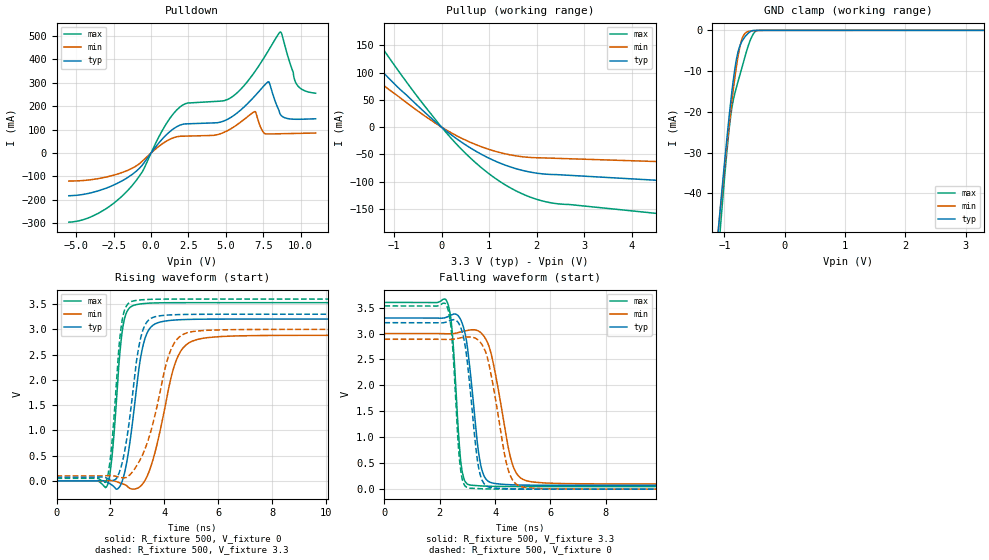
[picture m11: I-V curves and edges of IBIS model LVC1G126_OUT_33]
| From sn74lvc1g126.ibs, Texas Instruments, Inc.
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[Model]   LVC1G126_OUT_33
Model_type  3-state
Enable   Active-Low
Vref =   0
Rref =   500
Cref =   50p
Vmeas =   1.5
| variable   typ   min   max
C_comp   5.78pF   4.91pF   6.95pF
| C_pullup   10.34pF   5.85pF   13.17pF
| C_pulldown   9.42pF   6.49pF   14.05pF
| C_tri-state   5.78pF   4.91pF   6.95pF
[Temperature Range]   40   100   -40
| Ambient temperature   25   85   -40
[Voltage range]   3.3   3   3.6
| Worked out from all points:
|   slope of the pulldown table from 0 to 0.495 V, typ, clamps not added: 12.1 ohm
|   slope of the pullup table from 0 to 0.495 V, typ, clamps not added: 15.5 ohm
|   GND clamp passes 1 mA (typ) near -0.62 V on its own axis
|   rising waveform, R_fixture 500, V_fixture 0: 20-80 % time 475ps typ, 728ps min, 308ps max; typ from 0 V to 3.2 V
|   falling waveform, R_fixture 500, V_fixture 3.3: 20-80 % time 382ps typ, 589ps min, 250ps max; typ from 3.3 V to 0.074 V
|   rising waveform, R_fixture 500, V_fixture 3.3: 20-80 % time 483ps typ, 809ps min, 306ps max; typ from 0.074 V to 3.3 V
|   falling waveform, R_fixture 500, V_fixture 0: 20-80 % time 371ps typ, 559ps min, 238ps max; typ from 3.21 V to 0 V
[GND Clamp]
| LVC1G126_OUT_33
|   Voltage   I(typ)   I(min)   I(max)
-5.5V     -902.1mA   -833.8mA   -1.025A
-1.095V   -47.96mA   -47.98mA   -53.66mA
-1.065V   -43.06mA   -43.49mA   -48.11mA
-960mV    -26.67mA   -28.39mA   -29.93mA
-905mV    -18.83mA   -21.02mA   -22.13mA
-860mV    -13.08mA   -15.41mA   -17.67mA
-795mV    -6.693mA   -8.315mA   -13.66mA
-730mV    -3.328mA   -3.204mA   -10.23mA
-675mV    -1.899mA   -1.056mA   -7.313mA
-560mV    -222.8uA   -149.8uA   -2.018mA
-475mV    -9.717uA   -63.65uA   -131.3uA
3.3V      10.78pA    98.89nA    394pA
[Pulldown]
| LVC1G126_OUT_33
|   Voltage   I(typ)   I(min)   I(max)
-5.5V     -183.2mA   -120.3mA   -296.4mA
-3.555V   -162.7mA   -110.1mA   -259.3mA
-1.61V    -107mA     -75.73mA   -164mA
1.02V     77.66mA    50.32mA    125.4mA
1.925V    118.7mA    71.29mA    196.3mA
5.13V     144.4mA    96.07mA    229.3mA
6.93V     243mA      176.8mA    347.1mA
7.44V     279.6mA    95.03mA    396.1mA
7.835V    304.6mA    81.23mA    437mA
8.625V    167.3mA    82.15mA    517.2mA
9.715V    144.1mA    83.53mA    295.9mA
11V       146.2mA    85.2mA     255.6mA
[Pullup]
| LVC1G126_OUT_33
|   Voltage   I(typ)   I(min)   I(max)
-5.5V     537.8mA    430.1mA    747.1mA
-2.615V   233.2mA    183.4mA    328.2mA
-2.145V   186.6mA    146mA      263.6mA
-1.605V   134.9mA    104.7mA    191.5mA
-1.5V     125.1mA    96.96mA    177.9mA
-310mV    23.76mA    17.91mA    33.74mA
485mV     -31.39mA   -23.03mA   -46.41mA
1.275V    -67.52mA   -47.61mA   -102.3mA
1.645V    -78.04mA   -53.63mA   -120.2mA
2.09V     -85.29mA   -56.22mA   -134.5mA
7.33V     -111.2mA   -70.85mA   -183mA
11V       -129.4mA   -81.11mA   -215.7mA
[Ramp]
| LVC1G126_OUT_33
| variable   typ   min   max
dV/dt_r   2.02/5.02E-10   1.83/7.77E-10   2.20/3.25E-10
dV/dt_f   1.98/4.04E-10   1.78/6.11E-10   2.17/2.64E-10
R_load = 500
[Rising Waveform]
| LVC1G126_OUT_33
R_fixture =   500
C_fixture =   0
L_fixture =   0
V_fixture =   0
V_fixture_min = 0
V_fixture_max = 0
|   Time   V(typ)   V(min)   V(max)
0s        149.2pV    5.754nV    532.7pV
1.88ns    -26.07mV   3.768mV    -92.3mV
2.06ns    -84.49mV   5.232mV    502.9mV
2.335ns   -117.3mV   -36.87mV   2.452V
2.48ns    73.09mV    -63.6mV    3.109V
3.115ns   2.433V     -104.5mV   3.504V
3.51ns    3.053V     305.4mV    3.521V
4.495ns   3.189V     2.459V     3.528V
5.61ns    3.202V     2.837V     3.529V
50ns      3.204V     2.883V     3.529V
[Falling Waveform]
| LVC1G126_OUT_33
R_fixture =   500
C_fixture =   0
L_fixture =   0
V_fixture =   3.3
V_fixture_min = 3
V_fixture_max = 3.6
|   Time   V(typ)   V(min)   V(max)
0s        3.3V       3V         3.6V
2.26ns    3.319V     2.995V     3.617V
2.45ns    3.365V     2.997V     3.028V
2.775ns   3.244V     3.034V     462.8mV
3.11ns    2.224V     3.07V      78.51mV
3.395ns   738.5mV    3.049V     66.17mV
3.62ns    234.1mV    2.93V      59.26mV
4.63ns    83.97mV    475.7mV    51.34mV
5.405ns   76.51mV    135.9mV    50.63mV
50ns      73.65mV    99.78mV    50.36mV
[Rising Waveform]
| LVC1G126_OUT_33
R_fixture =   500
C_fixture =   0
L_fixture =   0
V_fixture =   3.3
V_fixture_min = 3
V_fixture_max = 3.6
|   Time   V(typ)   V(min)   V(max)
0s        73.62mV    99.74mV    50.35mV
1.835ns   60.94mV    102.1mV    -9.799mV
2.03ns    19.36mV    106.1mV    623mV
2.305ns   139.1mV    73.36mV    2.587V
2.44ns    372.6mV    61.92mV    3.199V
2.975ns   2.408V     303mV      3.575V
3.38ns    3.165V     780mV      3.592V
4.265ns   3.288V     2.626V     3.599V
5.195ns   3.298V     2.967V     3.6V
50ns      3.3V       3V         3.6V
[Falling Waveform]
| LVC1G126_OUT_33
R_fixture =   500
C_fixture =   0
L_fixture =   0
V_fixture =   0
V_fixture_min = 0
V_fixture_max = 0
|   Time   V(typ)   V(min)   V(max)
0s        3.209V     2.89V      3.532V
2.245ns   3.224V     2.886V     3.542V
2.43ns    3.261V     2.887V     2.981V
2.755ns   3.118V     2.918V     373.7mV
3.09ns    1.972V     2.933V     18.98mV
3.35ns    598.1mV    2.891V     12.09mV
3.57ns    132mV      2.747V     6.801mV
4.475ns   7.605mV    369.8mV    830.9uV
5.14ns    2.118mV    28.31mV    260.6uV
50ns      19.85uV    33.07uV    10.39uV
